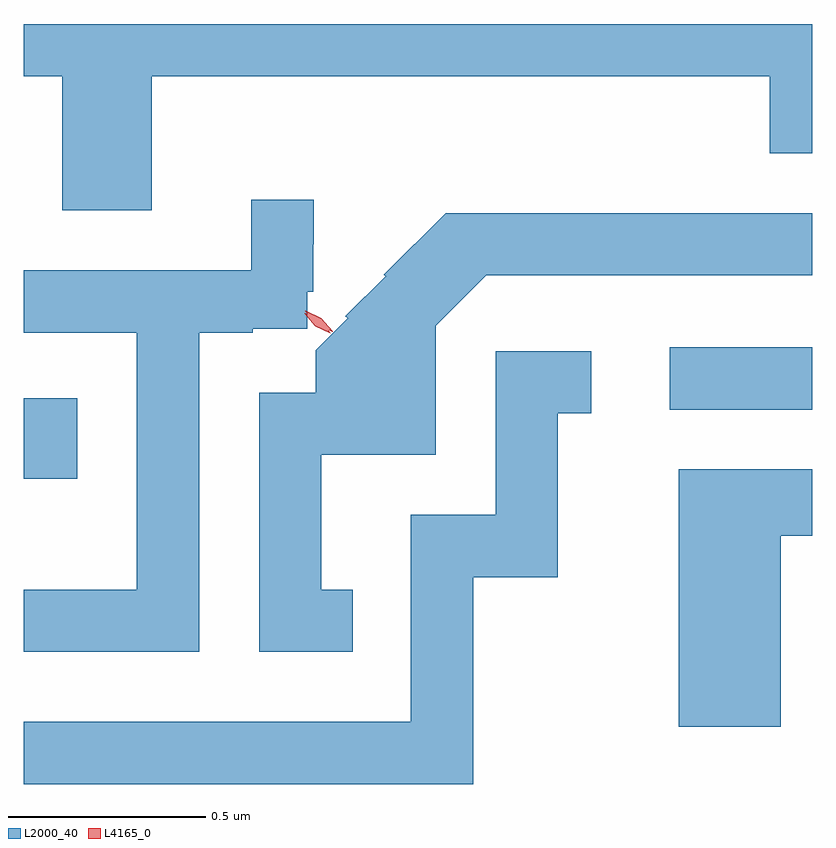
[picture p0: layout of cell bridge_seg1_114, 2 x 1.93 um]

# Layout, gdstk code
import gdstk
lib = gdstk.Library(unit=1e-6, precision=1e-09)
def R(c, l, rs):  # rectangles x0, y0, x1, y1
    for r in rs: c.add(gdstk.rectangle(r[:2], r[2:], *l))
def P(c, l, *ps):  # polygons
    for p in ps: c.add(gdstk.Polygon(p, *l))
L2000_40 = (2000, 40)
L4165_0 = (4165, 0)

bridge_seg1_114 = lib.new_cell('bridge_seg1_114')
R(bridge_seg1_114, L2000_40, [(1404.264,851.936,1404.399,852.139), (1405.903,852.111,1406.264,852.269)])
P(bridge_seg1_114, L2000_40, [(1404.589,852.956),(1406.156,852.956),(1406.156,852.761),(1406.264,852.761),(1406.264,853.089),(1404.264,853.089),(1404.264,852.956),(1404.361,852.956),(1404.361,852.616),(1404.589,852.616)],
  [(1404.709,852.306),(1404.845,852.306),(1404.845,852.316),(1404.983,852.316),(1404.983,852.41),(1404.998,852.41),(1404.998,852.53),(1404.999,852.53),(1404.999,852.643),(1404.841,852.643),(1404.841,852.464),(1404.264,852.464),(1404.264,852.306),(1404.551,852.306),(1404.551,851.654),(1404.264,851.654),(1404.264,851.496),(1404.709,851.496)],
  [(1405.098,851.654),(1405.019,851.654),(1405.019,851.996),(1405.309,851.996),(1405.309,852.324),(1405.437,852.451),(1406.264,852.451),(1406.264,852.609),(1405.334,852.609),(1405.177,852.453),(1405.182,852.449),(1405.08,852.347),(1405.086,852.342),(1405.005,852.261),(1405.005,852.154),(1404.861,852.154),(1404.861,851.496),(1405.098,851.496)],
  [(1405.404,851.686),(1405.619,851.686),(1405.619,852.101),(1405.703,852.101),(1405.703,852.259),(1405.461,852.259),(1405.461,851.844),(1405.246,851.844),(1405.246,851.319),(1404.264,851.319),(1404.264,851.161),(1405.404,851.161)],
  [(1406.184,851.791),(1406.264,851.791),(1406.264,851.959),(1405.926,851.959),(1405.926,851.306),(1406.184,851.306)])
P(bridge_seg1_114, L4165_0, [(1405.047,852.308),(1405.007,852.326),(1404.978,852.36),(1404.978,852.361),(1404.979,852.361),(1405.019,852.342),(1405.048,852.309),(1405.048,852.308)],
  [(1405.041,852.305),(1405.003,852.322),(1404.977,852.354),(1404.977,852.355),(1404.978,852.355),(1405.016,852.338),(1405.042,852.306),(1405.042,852.305)])

lib.write_gds('bridge_seg1_114.gds')
